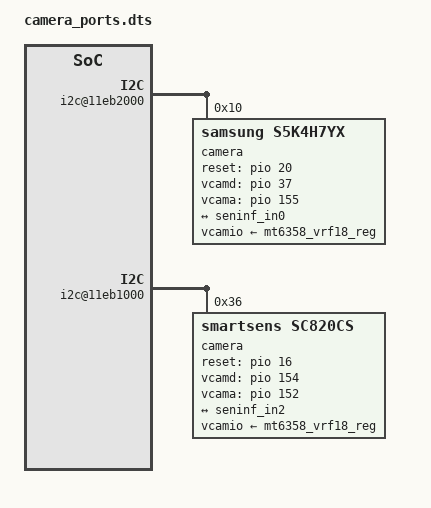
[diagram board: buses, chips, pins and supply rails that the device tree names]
/dts-v1/;
/plugin/;

/ {
	fragment@0 {
		target-path = "/soc/pinctrl";
		__overlay__ {
			cam0_mclk_default: cam0-mclk-default {
				pins_cmd_dat {
					pinmux = <0x00008001>; /* GPIO 128, func 1 = CMMCLK2 */
				};
			};
			cam1_mclk_default: cam1-mclk-default {
				pins_cmd_dat {
					pinmux = <0x00007e01>; /* GPIO 126, func 1 = CMMCLK0 */
				};
			};
		};
	};

	fragment@1 {
		target-path = "/soc/i2c@11eb2000";
		__overlay__ {
			#address-cells = <1>;
			#size-cells = <0>;

			camera@10 {
				compatible = "samsung,s5k4h7yx";
				reg = <0x10>;
				pinctrl-names = "default";
				pinctrl-0 = <&cam0_mclk_default>;
				reset-gpios = <&pio 20 0>;
				vcamd-gpios = <&pio 37 0>;
				vcama-gpios = <&pio 155 0>;
				clocks = <&topckgen_clk 13>;
				clock-names = "mclk";
				vcamio-supply = <&mt6358_vrf18_reg>;

				port {
					s5k4h7yx_ep: endpoint {
						remote-endpoint = <&seninf_in0>;
						clock-lanes = <2>;
						data-lanes = <1 3 0 4>;
					};
				};
			};
		};
	};

	fragment@2 {
		target-path = "/soc/i2c@11eb1000";
		__overlay__ {
			#address-cells = <1>;
			#size-cells = <0>;

			camera@36 {
				compatible = "smartsens,sc820cs";
				reg = <0x36>;
				pinctrl-names = "default";
				pinctrl-0 = <&cam1_mclk_default>;
				reset-gpios = <&pio 16 0>;
				vcamd-gpios = <&pio 154 0>;
				vcama-gpios = <&pio 152 0>;
				clocks = <&topckgen_clk 11>;
				clock-names = "mclk";
				vcamio-supply = <&mt6358_vrf18_reg>;

				port {
					sc820cs_ep: endpoint {
						remote-endpoint = <&seninf_in2>;
						clock-lanes = <2>;
						data-lanes = <1 3 0 4>;
					};
				};
			};
		};
	};

	fragment@3 {
		target-path = "/soc/seninf_top@1a004000";
		__overlay__ {
			ports {
				#address-cells = <1>;
				#size-cells = <0>;

				port@0 {
					reg = <0>;
					seninf_in0: endpoint {
						remote-endpoint = <&s5k4h7yx_ep>;
						clock-lanes = <2>;
						data-lanes = <1 3 0 4>;
					};
				};

				port@2 {
					reg = <2>;
					seninf_in2: endpoint {
						remote-endpoint = <&sc820cs_ep>;
						clock-lanes = <2>;
						data-lanes = <1 3 0 4>;
					};
				};

				port@6 {
					reg = <6>;
					seninf_out6: endpoint {
						remote-endpoint = <&camsv2_ep>;
					};
				};

				port@7 {
					reg = <7>;
					seninf_out7: endpoint {
						remote-endpoint = <&camsv3_ep>;
					};
				};
			};
		};
	};

	fragment@4 {
		target-path = "/soc/camsv2_legacy@1a092000";
		__overlay__ {
			clocks = <&camsys_main_clk 2>,
				 <&camsys_main_clk 3>,
				 <&camsys_main_clk 6>;
			clock-names = "cam", "camtg", "camsv";

			ports {
				#address-cells = <1>;
				#size-cells = <0>;

				port@0 {
					reg = <0>;
					camsv2_ep: endpoint {
						remote-endpoint = <&seninf_out6>;
					};
				};
			};
		};
	};

	fragment@5 {
		target-path = "/soc/camsv3_legacy@1a093000";
		__overlay__ {
			clocks = <&camsys_main_clk 2>,
				 <&camsys_main_clk 3>,
				 <&camsys_main_clk 7>;
			clock-names = "cam", "camtg", "camsv";

			ports {
				#address-cells = <1>;
				#size-cells = <0>;

				port@0 {
					reg = <0>;
					camsv3_ep: endpoint {
						remote-endpoint = <&seninf_out7>;
					};
				};
			};
		};
	};

	fragment@6 {
		target-path = "/soc/pwrap@10026000/mt6366/mt6358regulator/ldo-vrf18";
		__overlay__ {
			regulator-always-on;
		};
	};
};
